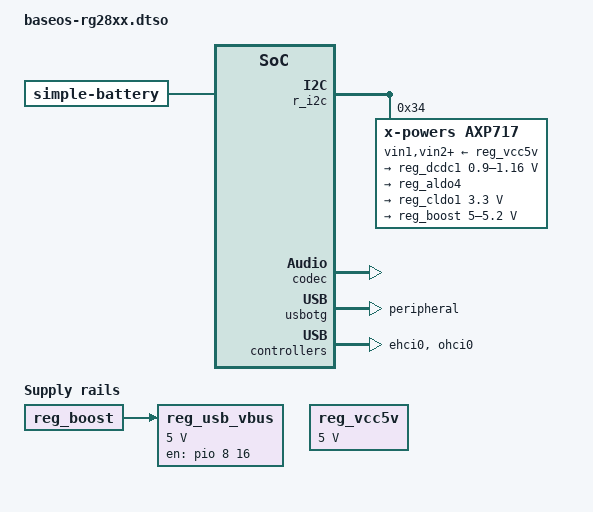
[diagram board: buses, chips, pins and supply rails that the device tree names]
// SPDX-License-Identifier: (GPL-2.0-only OR BSD-2-Clause)
/*
 * RG28XX power chip, battery, CPU voltage and audio. Applied by
 * drivers/of/baseos-overlay.c because the boot firmware refuses x-powers nodes.
 * Rails are described only where a consumer needs them; undescribed rails are
 * never touched, so nothing the firmware set up can be switched off.
 */
/dts-v1/;
/plugin/;

#include <dt-bindings/gpio/gpio.h>
#include <dt-bindings/interrupt-controller/irq.h>

&{/} {
	battery: battery {
		compatible = "simple-battery";
		charge-full-design-microamp-hours = <3000000>;
		constant-charge-current-max-microamp = <1500000>;
		voltage-max-design-microvolt = <4100000>; /* stock charges to 4.1 V */
	};

	reg_vcc5v: regulator-vcc5v {
		compatible = "regulator-fixed";
		regulator-name = "vcc-5v";
		regulator-min-microvolt = <5000000>;
		regulator-max-microvolt = <5000000>;
	};
};

&r_i2c {
	#address-cells = <1>;
	#size-cells = <0>;
	status = "okay";

	axp717: pmic@34 {
		compatible = "x-powers,axp717";
		reg = <0x34>;
		interrupt-controller;
		#interrupt-cells = <1>;
		interrupt-parent = <&nmi_intc>;
		interrupts = <0 IRQ_TYPE_LEVEL_LOW>;
		vin1-supply = <&reg_vcc5v>;
		vin2-supply = <&reg_vcc5v>;
		vin3-supply = <&reg_vcc5v>;
		vin4-supply = <&reg_vcc5v>;

		axp_adc: adc {
			compatible = "x-powers,axp717-adc";
			#io-channel-cells = <1>;
		};

		battery-power {
			compatible = "x-powers,axp717-battery-power-supply";
			monitored-battery = <&battery>;
			x-powers,no-thermistor;
		};

		usb-power {
			compatible = "x-powers,axp717-usb-power-supply";
			input-current-limit-microamp = <2500000>;
		};

		regulators {
			reg_dcdc1: dcdc1 {
				regulator-always-on;
				regulator-min-microvolt = <900000>;
				regulator-max-microvolt = <1160000>;
				regulator-name = "vdd-cpu";
			};

			reg_aldo4: aldo4 {
				regulator-always-on;
				regulator-name = "avcc";
			};

			reg_cldo1: cldo1 {
				regulator-always-on;
				regulator-min-microvolt = <3300000>; /* boots at 1.8 V: quiet speaker */
				regulator-max-microvolt = <3300000>;
				regulator-name = "vcc-spkr-amp";
			};
		};
	};
};

&cpu0 {
	cpu-supply = <&reg_dcdc1>;
};

&codec {
	allwinner,audio-routing = "Speaker", "LINEOUT", "Headphone", "LINEOUT";
	allwinner,pa-gpios = <&pio 8 5 GPIO_ACTIVE_HIGH>; /* PI5 */
	hp-det-gpios = <&pio 8 3 GPIO_ACTIVE_HIGH>; /* PI3 */
	status = "okay";
};

/*
 * USB-C port 0, wired the same on the RG28XX and RG SP (stock usbc0). PI16
 * switches the power chip's 5 V boost onto the port for host mode. PI4 is not
 * a plain ID line (stock leaves role detection to the power chip; reading it
 * as ID put an RG28XX on a computer into host mode), so the port stays a USB
 * device until host mode is chosen explicitly.
 */
&axp717 {
    usb_power: usb-power {};
    regulators {
        reg_boost: boost {
            regulator-name = "usb-boost";
            regulator-min-microvolt = <5000000>;
            regulator-max-microvolt = <5200000>;
        };
    };
};

&{/} {
    reg_usb_vbus: regulator-usb-vbus {
        compatible = "regulator-fixed";
        regulator-name = "usb-vbus";
        regulator-min-microvolt = <5000000>;
        regulator-max-microvolt = <5000000>;
        vin-supply = <&reg_boost>;
        gpio = <&pio 8 16 GPIO_ACTIVE_HIGH>;
        enable-active-high;
    };
};

&usbphy {
    usb0_vbus-supply = <&reg_usb_vbus>;
    usb0_vbus_power-supply = <&usb_power>;
};

&usbotg {
    dr_mode = "peripheral";
};

&ehci0 { status = "okay"; };
&ohci0 { status = "okay"; };
